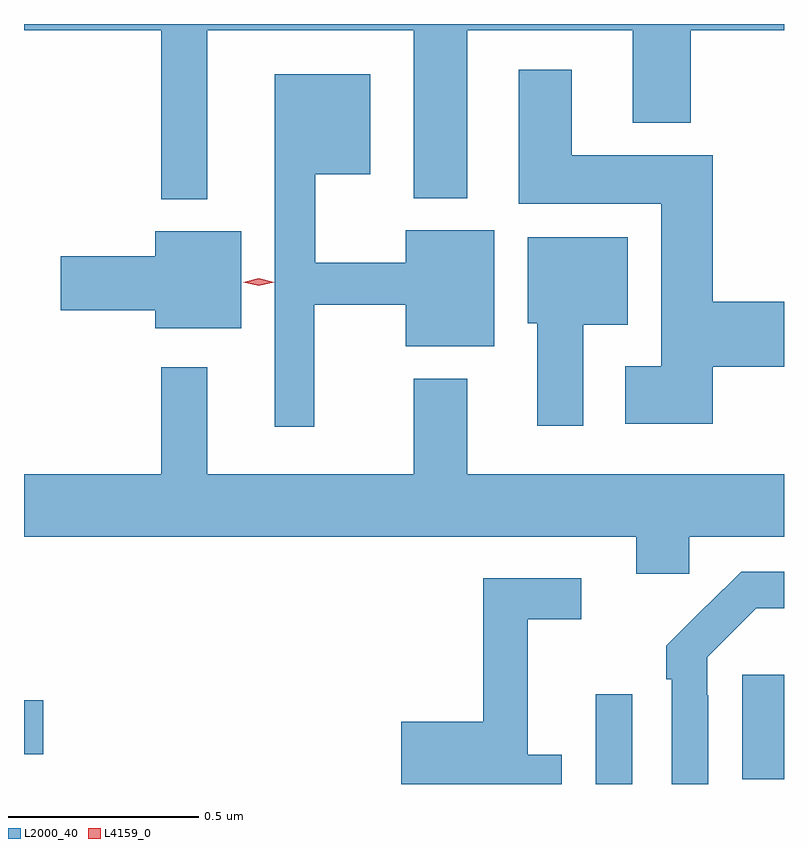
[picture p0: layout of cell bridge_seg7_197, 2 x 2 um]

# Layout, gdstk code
import gdstk
lib = gdstk.Library(unit=1e-6, precision=1e-09)
def R(c, l, rs):  # rectangles x0, y0, x1, y1
    for r in rs: c.add(gdstk.rectangle(r[:2], r[2:], *l))
def P(c, l, *ps):  # polygons
    for p in ps: c.add(gdstk.Polygon(p, *l))
L2000_40 = (2000, 40)
L4159_0 = (4159, 0)

bridge_seg7_197 = lib.new_cell('bridge_seg7_197')
R(bridge_seg7_197, L2000_40, [(498.633,1015.949,498.729,1016.185), (499.019,1015.961,499.129,1016.236), (497.129,1016.027,497.179,1016.169)])
P(bridge_seg7_197, L2000_40, [(497.611,1017.932),(498.155,1017.932),(498.155,1017.491),(498.295,1017.491),(498.295,1017.932),(498.731,1017.932),(498.731,1017.689),(498.884,1017.689),(498.884,1017.932),(499.129,1017.932),(499.129,1017.949),(497.129,1017.949),(497.129,1017.932),(497.49,1017.932),(497.49,1017.488),(497.611,1017.488)],
  [(498.941,1017.047),(499.129,1017.047),(499.129,1017.218),(498.941,1017.218),(498.941,1017.604),(498.571,1017.604),(498.571,1017.829),(498.431,1017.829),(498.431,1017.476),(498.806,1017.476),(498.806,1017.049),(498.711,1017.049),(498.711,1016.897),(498.941,1016.897)],
  [(497.893,1017.21),(498.134,1017.21),(498.134,1017.101),(498.367,1017.101),(498.367,1017.406),(498.134,1017.406),(498.134,1017.321),(497.896,1017.321),(497.896,1017.554),(498.04,1017.554),(498.04,1017.817),(497.789,1017.817),(497.789,1016.889),(497.893,1016.889)],
  [(497.701,1017.403),(497.474,1017.403),(497.474,1017.338),(497.226,1017.338),(497.226,1017.196),(497.474,1017.196),(497.474,1017.149),(497.701,1017.149)],
  [(498.601,1017.158),(498.718,1017.158),(498.718,1017.388),(498.455,1017.388),(498.455,1017.162),(498.479,1017.162),(498.479,1016.892),(498.601,1016.892)],
  [(498.879,1016.6),(499.129,1016.6),(499.129,1016.764),(498.295,1016.764),(498.295,1017.016),(498.155,1017.016),(498.155,1016.764),(497.611,1016.764),(497.611,1017.046),(497.49,1017.046),(497.49,1016.764),(497.129,1016.764),(497.129,1016.6),(498.74,1016.6),(498.74,1016.502),(498.879,1016.502)],
  [(498.93,1016.183),(498.927,1016.183),(498.927,1016.283),(499.056,1016.412),(499.129,1016.412),(499.129,1016.508),(499.016,1016.508),(498.925,1016.417),(498.924,1016.418),(498.819,1016.313),(498.819,1016.225),(498.834,1016.225),(498.834,1015.949),(498.93,1015.949)],
  [(498.544,1016.026),(498.455,1016.026),(498.455,1016.382),(498.595,1016.382),(498.595,1016.49),(498.337,1016.49),(498.337,1016.113),(498.122,1016.113),(498.122,1015.949),(498.544,1015.949)])
P(bridge_seg7_197, L4159_0, [(497.747,1017.26),(497.706,1017.27),(497.706,1017.27),(497.706,1017.27),(497.747,1017.28),(497.788,1017.27),(497.788,1017.27),(497.788,1017.27)])

lib.write_gds('bridge_seg7_197.gds')
